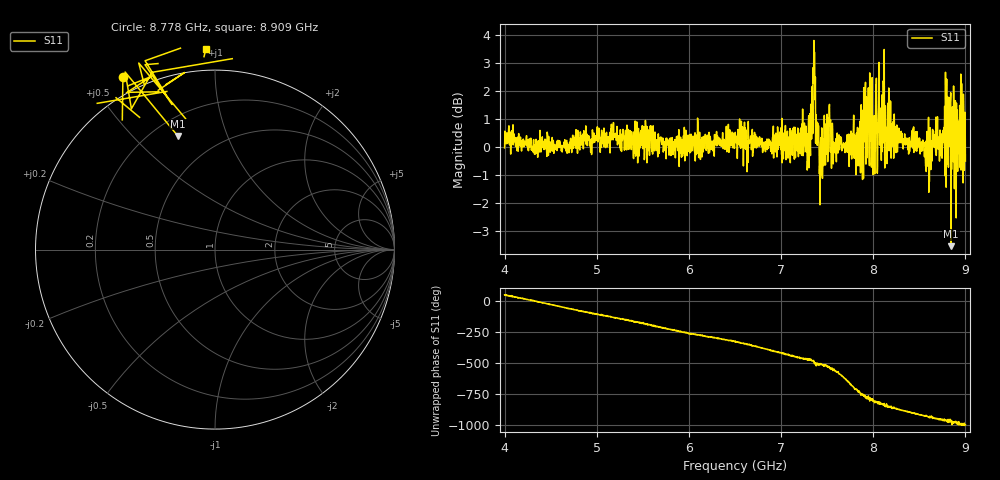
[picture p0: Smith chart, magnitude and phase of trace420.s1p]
! Created with skrf 1.8.0 (http://scikit-rf.org).
# Hz S RI R 50.0
!freq ReS11 ImS11
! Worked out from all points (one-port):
!   1601 points, 4 GHz to 9 GHz, reference 50 ohm
!   lowest |S11| = -3.5 dB at 8.844 GHz (marker M1), VSWR 4.99, Z = 15 + j34.1 ohm
!   |S11| at or under -10 dB: nowhere
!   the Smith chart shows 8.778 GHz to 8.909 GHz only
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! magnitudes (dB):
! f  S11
! 4 GHz  0.0
! 4.625 GHz  -0.2
! 5.25 GHz  0.0
! 5.875 GHz  0.2
! 6.5 GHz  0.5
! 7.125 GHz  0.6
! 7.294 GHz  -0.2
! 7.309 GHz  0.6
! 7.347 GHz  2.8
! 7.372 GHz  2.5
! 7.4 GHz  0.6
! 7.438 GHz  -1.0
! 7.512 GHz  1.0
! 7.566 GHz  -0.6
! 7.75 GHz  -0.2
! 7.838 GHz  0.6
! 7.962 GHz  2.7
! 7.997 GHz  0.4
! 8.134 GHz  0.3
! 8.216 GHz  0.9
! 8.375 GHz  0.2
! 8.584 GHz  0.6
! 8.672 GHz  0.2
! 8.728 GHz  -0.1
! 8.816 GHz  -0.7
! 8.844 GHz  -3.5
! 8.956 GHz  -0.4
! 9 GHz  -0.5
